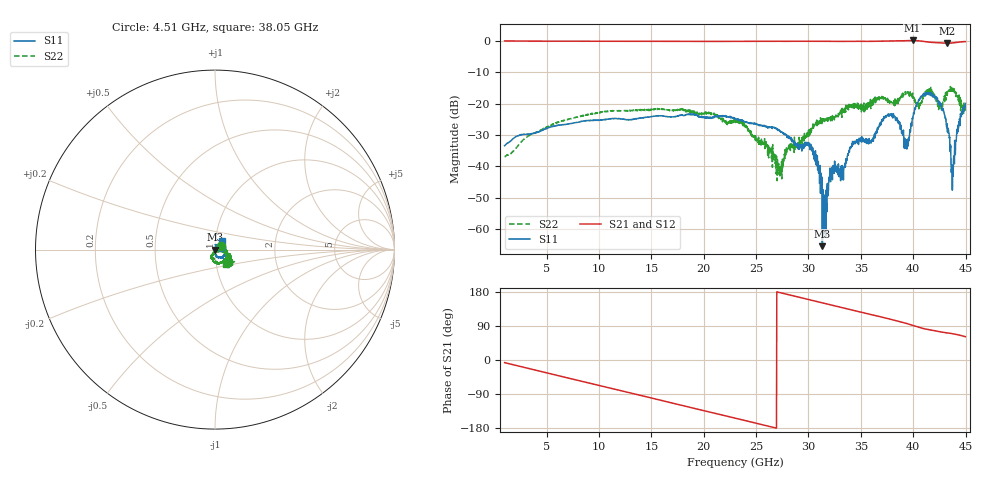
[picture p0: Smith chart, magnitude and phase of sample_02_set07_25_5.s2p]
!Keysight Technologies,N5247B,MY61255062,A.19.80.06
!Date: Friday, March 13, 2026 17:45:59
!Correction: S11(C  2-Port  )
!S21(C  2-Port  )
!S12(C  2-Port  )
!S22(C  2-Port  )
!S2P File: Measurements: S11, S21, S12, S22:
# Hz S  dB  R 50
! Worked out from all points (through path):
!   1467 points, 1 GHz to 44.98 GHz, reference 50 ohm
!   highest |S21| = 0.06 dB at 39.94 GHz (marker M1); lowest = -0.8 dB at 43.24 GHz (marker M2)
!   group delay of S21, straight-line fit = 18.6 ps
!   lowest |S11| = -65.3 dB at 31.33 GHz (marker M3), VSWR 1.00, Z = 50.1 + j0.00809 ohm
!   |S11| at or under -10 dB: start of sweep to end of sweep
!   |S22| runs from -44.5 to -14.6 dB; largest |S21 - S12| = 0.008
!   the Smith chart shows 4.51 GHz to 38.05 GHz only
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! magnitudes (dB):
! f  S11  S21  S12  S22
! 1 GHz  -33.4  -0.1  -0.1  -36.9
! 8.35 GHz  -25.6  -0.2  -0.2  -24.0
! 15.67 GHz  -23.9  -0.2  -0.2  -21.8
! 22.99 GHz  -24.7  -0.2  -0.2  -25.2
! 27.28 GHz  -28.7  -0.2  -0.2  -43.0
! 30.34 GHz  -35.1  -0.2  -0.2  -27.8
! 31 GHz  -40.9  -0.2  -0.2  -26.4
! 31.33 GHz  -65.3  -0.2  -0.2  -25.9
! 31.54 GHz  -51.4  -0.2  -0.2  -25.7
! 32.2 GHz  -43.1  -0.2  -0.2  -24.6
! 33.19 GHz  -43.0  -0.2  -0.2  -24.4
! 34.18 GHz  -33.6  -0.2  -0.2  -21.3
! 36.04 GHz  -32.1  -0.2  -0.2  -20.7
! 37.66 GHz  -23.5  -0.1  -0.1  -19.6
! 39.31 GHz  -31.5  0.0  0.0  -16.3
! 39.94 GHz  -24.9  0.1  0.0  -16.7
! 41.53 GHz  -17.2  -0.5  -0.4  -15.5
! 42.58 GHz  -20.7  -0.7  -0.7  -20.8
! 43.24 GHz  -26.4  -0.8  -0.8  -17.7
! 43.81 GHz  -43.1  -0.7  -0.7  -16.1
! 44.32 GHz  -27.8  -0.5  -0.5  -18.3
! 44.98 GHz  -20.0  -0.3  -0.3  -22.2
